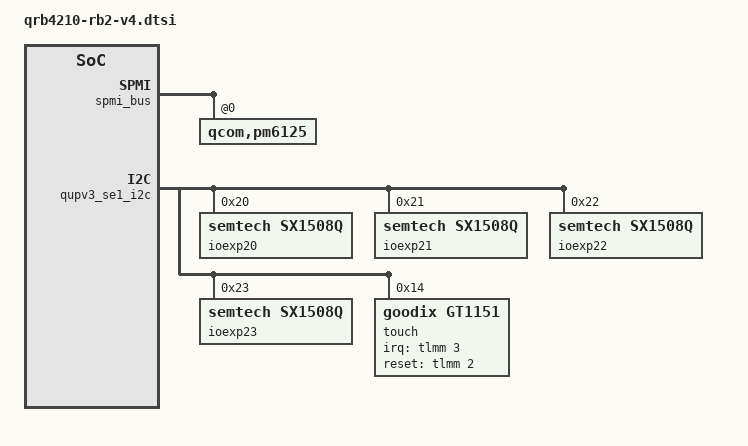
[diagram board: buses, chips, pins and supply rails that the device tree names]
// SPDX-License-Identifier: BSD-3-Clause
/*
 * Copyright (c) Qualcomm Technologies, Inc. and/or its subsidiaries.
 */

#include "qrb4210-rb2-v3.dtsi"

&aliases {
	hsuart1 = &qupv3_se0_4uart;
};

&sdhc_1 {
	boot_device_type = <0x7>;
};

&pm6125_vadc {
	pinctrl-0 = <&camera_therm_default &emmc_therm_default &key_therm_default>;

	key_therm {
		reg = <ADC5_GPIO3_100K_PU>;
		label = "key_therm";
		qcom,ratiometric;
		qcom,hw-settle-time = <200>;
		qcom,pre-scaling = <1 1>;
	};
};

&pm6125_gpios {
	key_therm {
		key_therm_default: key_therm_default {
			pins = "gpio8";
			power-source = <1>;
		};
	};

};

&pm6125_gpios {
	lcd_backlight_ctrl {
		lcd_backlight_pwm_default: lcd_backlight_pwm_default {
			pins = "gpio7";
			function = "func1";
			input-disable;
			output-enable;
			bias-disable;
			power-source = <1>;       /* 1.8V */
			qcom,drive-strength = <2>;
		};
	};
};

&spmi_bus {
	qcom,pm6125@0 {
		pm6125_adc_tm_iio: adc_tm@3400 {
			/delete-property/ io-channels;
			io-channels = <&pm6125_vadc ADC5_GPIO1_100K_PU>,
					<&pm6125_vadc ADC5_GPIO2_100K_PU>,
					<&pm6125_vadc ADC5_GPIO3_100K_PU>;

			key_therm {
				reg = <ADC5_GPIO3_100K_PU>;
				qcom,ratiometric;
				qcom,hw-settle-time = <200>;
			};
		};
	};

};

&tlmm {
	/delete-node/ pmx_sde;
	/delete-node/ pmx_sde_te;

	qupv3_se0_4uart_pins: qupv3_se0_4uart_pins {
		qupv3_se0_default_cts:
			qupv3_se0_default_cts {
			mux {
				pins = "gpio0";
				function = "gpio";
			};

			config {
				pins = "gpio0";
				drive-strength = <2>;
				bias-disable;
			};
		};

		qupv3_se0_default_rts:
			qupv3_se0_default_rts {
			mux {
				pins = "gpio1";
				function = "gpio";
			};

			config {
				pins = "gpio1";
				drive-strength = <2>;
				bias-pull-down;
			};
		};

		qupv3_se0_default_tx:
			qupv3_se0_default_tx {
			mux {
				pins = "gpio2";
				function = "gpio";
			};

			config {
				pins = "gpio2";
				drive-strength = <2>;
				bias-pull-up;
			};
		};

		qupv3_se0_default_rx:
			qupv3_se0_default_rx {
			mux {
				pins = "gpio3";
				function = "gpio";
			};

			config {
				pins = "gpio3";
				drive-strength = <2>;
				bias-pull-down;
			};
		};

		qupv3_se0_cts: qupv3_se0_cts {
			mux {
				pins = "gpio0";
				function = "qup0";
			};

			config {
				pins = "gpio0";
				drive-strength = <2>;
				bias-disable;
			};
		};


		qupv3_se0_rts: qupv3_se0_rts {
			mux {
				pins = "gpio1";
				function = "qup0";
			};

			config {
				pins = "gpio1";
				drive-strength = <2>;
				bias-pull-down;
			};
		};

		qupv3_se0_tx: qupv3_se0_tx {
			mux {
				pins = "gpio2";
				function = "qup0";
			};

			config {
				pins = "gpio2";
				drive-strength = <2>;
				bias-pull-up;
			};
		};

		qupv3_se0_rx: qupv3_se0_rx {
			mux {
				pins = "gpio3";
				function = "qup0";
			};

			config {
				pins = "gpio3";
				drive-strength = <2>;
				bias-disable;
			};
		};
	};

};

&qupv3_0 {
	/delete-node/ i2c@4a80000;

	qupv3_se0_4uart: qcom,qup_uart@4a80000 {
		status = "disabled";
		compatible = "qcom,msm-geni-serial-hs";
		reg = <0x4a80000 0x4000>;
		reg-names = "se_phys";
		interrupts = <GIC_SPI 327 IRQ_TYPE_LEVEL_HIGH>;
		clock-names = "se-clk";
		clocks = <&gcc GCC_QUPV3_WRAP0_S0_CLK>;
		interconnect-names = "qup-core", "qup-config", "qup-memory";
		interconnects = <&clk_virt MASTER_QUP_CORE_0 &clk_virt SLAVE_QUP_CORE_0>,
		<&bimc MASTER_AMPSS_M0 &config_noc SLAVE_QUP_0>,
		<&system_noc MASTER_QUP_0 &bimc SLAVE_EBI_CH0>;
		pinctrl-names = "default", "active", "sleep", "shutdown";
		pinctrl-0 = <&qupv3_se0_default_cts>, <&qupv3_se0_default_rts>,
			<&qupv3_se0_default_tx>, <&qupv3_se0_default_rx>;
		pinctrl-1 = <&qupv3_se0_cts>, <&qupv3_se0_rts>,
			<&qupv3_se0_tx>, <&qupv3_se0_rx>;
		pinctrl-2 = <&qupv3_se0_cts>, <&qupv3_se0_rts>,
			<&qupv3_se0_tx>, <&qupv3_se0_default_rx>;
		pinctrl-3 = <&qupv3_se0_default_cts>, <&qupv3_se0_default_rts>,
			<&qupv3_se0_default_tx>, <&qupv3_se0_default_rx>;
		qcom,wrapper-core = <&qupv3_0>;
		dmas = <&gpi_dma0 0 0 2 64 0>,
			<&gpi_dma0 1 0 2 64 0>;
		dma-names = "tx", "rx";
	};
};

&qupv3_se1_i2c {
	status = "ok";

	/delete-node/ ch_io_expander@22;

	ioexp20: i2c1gpio-expander@20 {
		compatible = "semtech,sx1508q";
		reg = <0x20>;
		gpio-controller;
		#gpio-cells = <2>;

		semtech,probe-reset;

		sx1508q_lcd0_vdd_1v8_active: sx1508q_lcd0_vdd_1v8_active {
			pins = "gpio6";
			bias-disable;
			output-high;
		};

		sx1508q_lcd0_vdd_1v8_sleep: sx1508q_lcd0_vdd_1v8_sleep {
			pins = "gpio6";
			bias-disable;
			output-low;
		};

		sx1508q_lcd0_vsp_active: sx1508q_lcd0_vsp_active {
			pins = "gpio7";
			bias-disable;
			output-high;
		};

		sx1508q_lcd0_vsp_sleep: sx1508q_lcd0_vsp_sleep {
			pins = "gpio7";
			bias-disable;
			output-low;
		};
	};

	ioexp21: i2c1gpio-expander@21 {
		compatible = "semtech,sx1508q";
		reg = <0x21>;
		gpio-controller;
		#gpio-cells = <2>;

		semtech,probe-reset;

		sx1508q_lcd0_vsn_active: sx1508q_lcd0_vsn_active {
			pins = "gpio1";
			bias-disable;
			output-high;
		};

		sx1508q_lcd0_vsn_sleep: sx1508q_lcd0_vsn_sleep {
			pins = "gpio1";
			bias-disable;
			output-low;
		};

		sx1508q_lcd0_bl_active: sx1508q_lcd0_bl_active {
			pins = "gpio3";
			bias-disable;
			output-high;
		};

		sx1508q_lcd0_bl_sleep: sx1508q_lcd0_bl_sleep {
			pins = "gpio3";
			bias-disable;
			output-low;
		};

		sx1508_cam1_pwdn_active: sx1508_cam1_pwdn_active {
			pins = "gpio4";
			bias-disable;
			output-high;
		};
	};

	ioexp22: i2c1gpio-expander@22 {
		compatible = "semtech,sx1508q";
		reg = <0x22>;
		gpio-controller;
		#gpio-cells = <2>;

		semtech,probe-reset;

		sx1508_touch_power_active: sx1508_touch_power_active {
			pins = "gpio7";
			bias-disable;
			output-high;
		};

		sx1508_touch_power_sleep: sx1508_touch_power_sleep {
			pins = "gpio7";
			bias-disable;
			output-low;
		};
	};

	ioexp23: i2c1gpio-expander@23 {
		compatible = "semtech,sx1508q";
		reg = <0x23>;
		gpio-controller;
		#gpio-cells = <2>;

		semtech,probe-reset;

		sx1508_cam1_strobe_active: sx1508_cam1_strobe_active {
			pins = "gpio2";
			bias-disable;
			output-high;
		};

		sx1508_cam2_strobe_active: sx1508_cam2_strobe_active {
			pins = "gpio3";
			bias-disable;
			output-high;
		};

		sx1508_cam2_pwdn_active: sx1508_cam2_pwdn_active {
			pins = "gpio5";
			bias-disable;
			output-high;
		};

		sx1508_gmsl_power_active: sx1508_gmsl_power_active {
			pins = "gpio7";
			bias-disable;
			output-high;
		};
	};

	touch: gt1151@14 {
		compatible = "goodix,gt1151";
		reg = <0x14>;

		interrupts-extended = <&tlmm 3 IRQ_TYPE_EDGE_FALLING>;
		irq-gpios = <&tlmm 3 0x2002>;
		reset-gpios = <&tlmm 2 0>;

		pinctrl-names = "default", "sleep";
		pinctrl-0 = <&sx1508_touch_power_active>;
		pinctrl-1 = <&sx1508_touch_power_sleep>;

		goodix,config-name = "gt1151_cfg.bin";
	};
};
